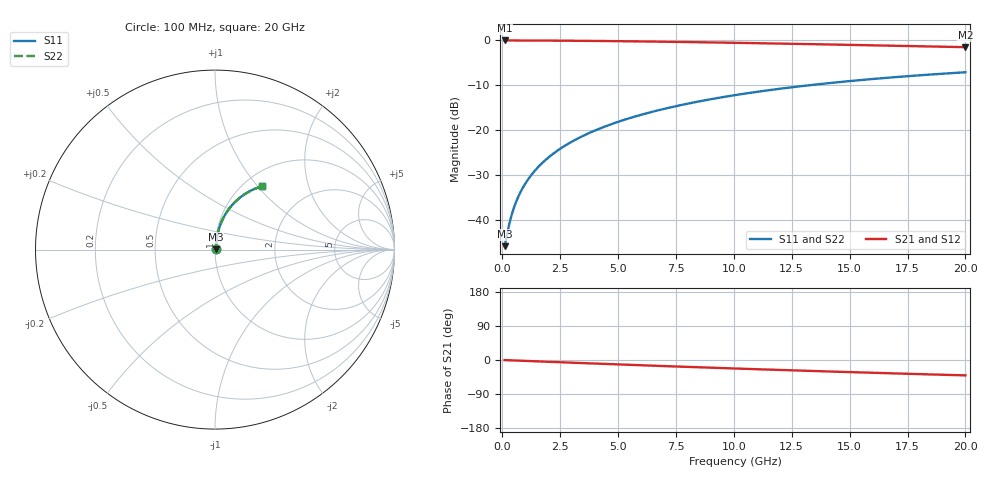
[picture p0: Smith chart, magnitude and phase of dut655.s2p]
! Touchstone file exported from HFSS 2024.1.0
!  File:  C:/UserFiles/LocalFiles/RDL_TSV_Batchsim/temp_RDL_top_655_1779781487.aedt
!  Generated:  03:47:10 PM May 26, 2026
!  Design:  RDL_top
!  Project:  temp_RDL_top_655_1779781487
!  Setup:  Setup1
!  Solution:  Sweep
! Variables:
!  dtsv = 10.80580581um
!  hbump = 3um
!  htsv = 83.25um
!  ldown = 100um
!  lrdl = 514.48um
!  p = 40
!  p1 = 50.73um
!  rhole = 1um
!  t = 450um
!  tdown = 3.915915916um
!  trdl = 2.83um
!  wdown = 15.38538539um
!  wrdl = 15.01um
# GHz S MA R 50.000000
! Terminal data exported
! Port[1] = Box2_T1
! Port[2] = Box2_T2
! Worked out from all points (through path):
!   200 points, 100 MHz to 20 GHz, reference 50 ohm
!   highest |S21| = -0.04 dB at 100 MHz (marker M1); lowest = -1.5 dB at 20 GHz (marker M2)
!   group delay of S21, straight-line fit = 5.63 ps
!   lowest |S11| = -45.8 dB at 100 MHz (marker M3), VSWR 1.01, Z = 50.4 + j0.263 ohm
!   |S11| at or under -10 dB: start of sweep to 13.25 GHz
!   |S22| runs from -45.8 to -7.1 dB; largest |S21 - S12| = 2.1e-15
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0.1  0.005144 30.5  0.9956 -0.2  0.9956 -0.2  0.005144 30.5
! Gamma 0 0 0 0
! Port Impedance 50 0 50 0
0.3  0.00904 59.1  0.9954 -0.7  0.9954 -0.7  0.00904 59.1
0.4  0.01134 65.0  0.9952 -1.0  0.9952 -1.0  0.01134 65.0
0.5  0.0137 68.7  0.995 -1.2  0.995 -1.2  0.0137 68.7
0.6  0.01608 71.4  0.9949 -1.5  0.9949 -1.5  0.01608 71.4
0.8  0.02086 74.8  0.9945 -1.9  0.9945 -1.9  0.02086 74.8
1.1  0.02808 77.6  0.9939 -2.6  0.9939 -2.6  0.02808 77.6
1.3  0.03292 78.7  0.9935 -3.1  0.9935 -3.1  0.03292 78.7
1.6  0.04021 79.8  0.9929 -3.8  0.9929 -3.8  0.04021 79.8
2.1  0.05243 80.7  0.9915 -5.0  0.9915 -5.0  0.05243 80.7
2.7  0.06716 80.9  0.9895 -6.4  0.9895 -6.4  0.06716 80.9
3.5  0.0869 80.6  0.9861 -8.2  0.9861 -8.2  0.0869 80.6
4.2  0.1042 79.9  0.9825 -9.9  0.9825 -9.9  0.1042 79.9
5  0.124 78.9  0.9779 -11.7  0.9779 -11.7  0.124 78.9
5.9  0.1462 77.7  0.9719 -13.7  0.9719 -13.7  0.1462 77.7
6.8  0.1683 76.2  0.9654 -15.6  0.9654 -15.6  0.1682 76.2
8.4  0.2069 73.5  0.9524 -19.1  0.9524 -19.1  0.2069 73.5
10.1  0.2468 70.5  0.9373 -22.6  0.9373 -22.6  0.2468 70.5
11.7  0.2829 67.6  0.9222 -25.7  0.9222 -25.7  0.2829 67.6
13.4  0.3194 64.5  0.9055 -29.0  0.9055 -29.0  0.3194 64.5
16.7  0.3844 58.7  0.8721 -35.0  0.8721 -35.0  0.3844 58.7
20  0.4412 53.2  0.8384 -40.6  0.8384 -40.6  0.4411 53.2
